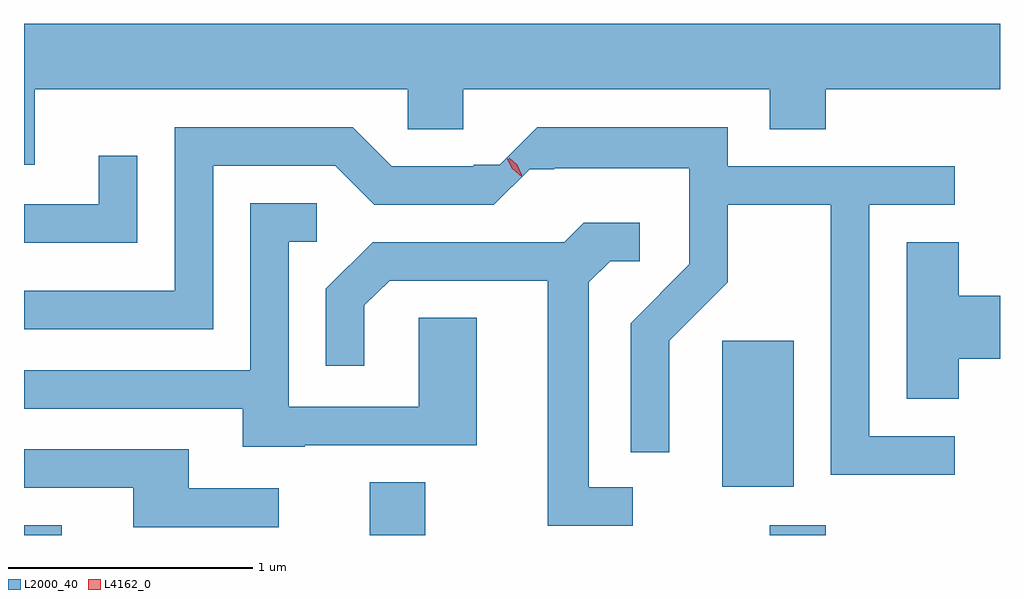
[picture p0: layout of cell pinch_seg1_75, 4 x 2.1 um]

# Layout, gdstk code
import gdstk
lib = gdstk.Library(unit=1e-6, precision=1e-09)
def R(c, l, rs):  # rectangles x0, y0, x1, y1
    for r in rs: c.add(gdstk.rectangle(r[:2], r[2:], *l))
def P(c, l, *ps):  # polygons
    for p in ps: c.add(gdstk.Polygon(p, *l))
L2000_40 = (2000, 40)
L4162_0 = (4162, 0)

pinch_seg1_75 = lib.new_cell('pinch_seg1_75')
R(pinch_seg1_75, L2000_40, [(222.394,899.967,222.549,900.009), (223.811,899.967,224.039,900.184), (225.451,899.967,225.679,900.009), (225.256,900.166,225.549,900.764)])
P(pinch_seg1_75, L2000_40, [(222.439,901.796),(223.966,901.796),(223.966,901.631),(224.194,901.631),(224.194,901.796),(225.451,901.796),(225.451,901.631),(225.679,901.631),(225.679,901.796),(226.394,901.796),(226.394,902.064),(222.394,902.064),(222.394,901.486),(222.439,901.486)],
  [(226.208,900.374),(225.859,900.374),(225.859,901.321),(226.208,901.321),(226.208,901.479),(225.279,901.479),(225.279,901.639),(224.497,901.639),(224.343,901.485),(224.238,901.485),(224.238,901.479),(223.902,901.479),(223.742,901.639),(223.011,901.639),(223.011,900.969),(222.394,900.969),(222.394,900.811),(223.169,900.811),(223.169,901.481),(223.669,901.481),(223.829,901.321),(224.32,901.321),(224.466,901.468),(224.568,901.468),(224.568,901.471),(225.121,901.471),(225.121,901.077),(224.881,900.837),(224.881,900.308),(225.039,900.308),(225.039,900.764),(225.279,901.004),(225.279,901.321),(225.701,901.321),(225.701,900.216),(226.208,900.216)],
  [(222.859,901.523),(222.701,901.523),(222.701,901.324),(222.394,901.324),(222.394,901.166),(222.859,901.166)],
  [(223.545,900.336),(224.249,900.336),(224.249,900.859),(224.011,900.859),(224.011,900.494),(223.479,900.494),(223.479,901.171),(223.593,901.171),(223.593,901.329),(223.321,901.329),(223.321,900.644),(222.394,900.644),(222.394,900.486),(223.291,900.486),(223.291,900.331),(223.545,900.331)],
  [(224.888,900.164),(224.709,900.164),(224.709,901.004),(224.797,901.091),(224.918,901.091),(224.918,901.249),(224.689,901.249),(224.609,901.169),(223.824,901.169),(223.631,900.977),(223.631,900.663),(223.789,900.663),(223.789,900.909),(223.892,901.011),(224.541,901.011),(224.541,900.006),(224.888,900.006)],
  [(226.224,900.691),(226.394,900.691),(226.394,900.949),(226.224,900.949),(226.224,901.169),(226.011,901.169),(226.011,900.526),(226.224,900.526)],
  [(223.438,900.159),(223.069,900.159),(223.069,900.319),(222.394,900.319),(222.394,900.161),(222.841,900.161),(222.841,900.001),(223.438,900.001)])
P(pinch_seg1_75, L4162_0, [(224.434,901.437),(224.396,901.469),(224.373,901.513),(224.373,901.514),(224.373,901.514),(224.412,901.482),(224.435,901.438),(224.435,901.437)],
  [(224.434,901.444),(224.4,901.473),(224.382,901.513),(224.382,901.514),(224.382,901.514),(224.416,901.485),(224.434,901.445),(224.434,901.444)])

lib.write_gds('pinch_seg1_75.gds')
